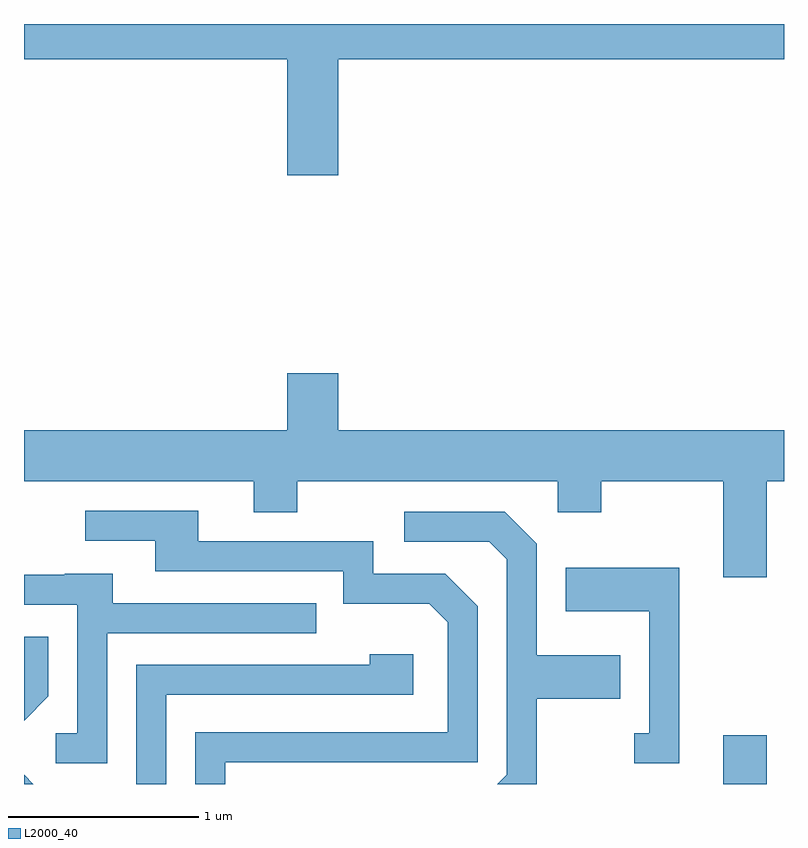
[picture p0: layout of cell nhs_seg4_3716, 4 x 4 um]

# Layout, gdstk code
import gdstk
lib = gdstk.Library(unit=1e-6, precision=1e-09)
def R(c, l, rs):  # rectangles x0, y0, x1, y1
    for r in rs: c.add(gdstk.rectangle(r[:2], r[2:], *l))
def P(c, l, *ps):  # polygons
    for p in ps: c.add(gdstk.Polygon(p, *l))
L2000_40 = (2000, 40)

nhs_seg4_3716 = lib.new_cell('nhs_seg4_3716')
R(nhs_seg4_3716, L2000_40, [(297.291,1341.982,297.519,1342.239)])
P(nhs_seg4_3716, L2000_40, [(295.264,1345.796),(297.611,1345.796),(297.611,1345.982),(293.611,1345.982),(293.611,1345.796),(294.996,1345.796),(294.996,1345.186),(295.264,1345.186)],
  [(297.519,1343.576),(297.611,1343.576),(297.611,1343.844),(295.264,1343.844),(295.264,1344.144),(294.996,1344.144),(294.996,1343.844),(293.611,1343.844),(293.611,1343.576),(294.821,1343.576),(294.821,1343.411),(295.049,1343.411),(295.049,1343.576),(296.421,1343.576),(296.421,1343.411),(296.649,1343.411),(296.649,1343.576),(297.291,1343.576),(297.291,1343.071),(297.519,1343.071)],
  [(294.669,1342.096),(295.999,1342.096),(295.999,1342.917),(295.827,1343.089),(295.449,1343.089),(295.449,1343.259),(294.529,1343.259),(294.529,1343.419),(293.933,1343.419),(293.933,1343.261),(294.301,1343.261),(294.301,1343.101),(295.291,1343.101),(295.291,1342.931),(295.744,1342.931),(295.841,1342.834),(295.841,1342.254),(294.511,1342.254),(294.511,1341.982),(294.669,1341.982)],
  [(296.309,1342.431),(296.749,1342.431),(296.749,1342.659),(296.309,1342.659),(296.309,1343.247),(296.142,1343.414),(295.613,1343.414),(295.613,1343.256),(296.059,1343.256),(296.151,1343.164),(296.151,1342.032),(296.102,1341.982),(296.309,1341.982)],
  [(297.059,1343.119),(296.461,1343.119),(296.461,1342.891),(296.901,1342.891),(296.901,1342.249),(296.823,1342.249),(296.823,1342.091),(297.059,1342.091)],
  [(294.049,1342.776),(295.148,1342.776),(295.148,1342.934),(294.079,1342.934),(294.079,1343.089),(293.825,1343.089),(293.825,1343.084),(293.611,1343.084),(293.611,1342.926),(293.891,1342.926),(293.891,1342.249),(293.778,1342.249),(293.778,1342.091),(294.049,1342.091)],
  [(293.739,1342.444),(293.739,1342.758),(293.611,1342.758),(293.611,1342.315)],
  [(294.359,1342.451),(295.659,1342.451),(295.659,1342.664),(295.431,1342.664),(295.431,1342.609),(294.201,1342.609),(294.201,1341.982),(294.359,1341.982)],
  [(293.611,1342.03),(293.611,1341.982),(293.659,1341.982)])

lib.write_gds('nhs_seg4_3716.gds')
